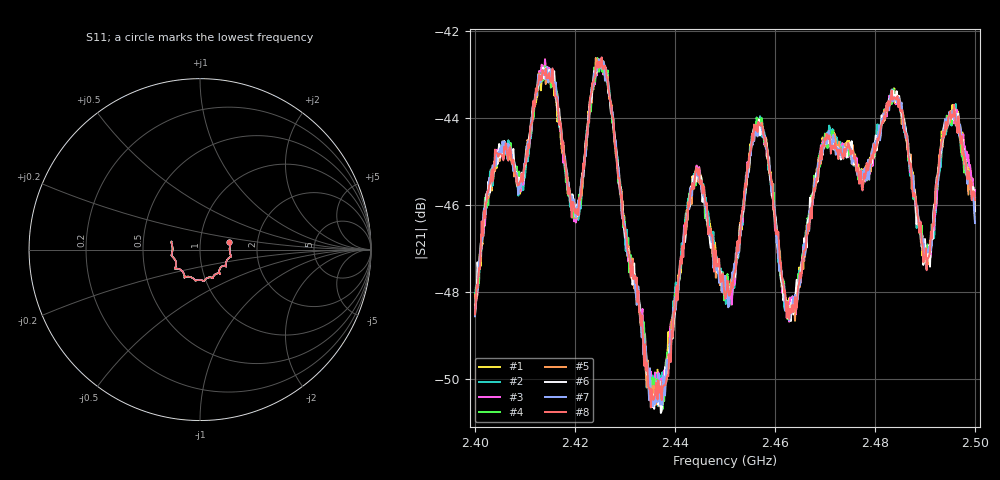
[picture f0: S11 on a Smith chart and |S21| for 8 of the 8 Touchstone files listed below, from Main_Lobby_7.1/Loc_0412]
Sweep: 2.4 GHz to 2.5 GHz
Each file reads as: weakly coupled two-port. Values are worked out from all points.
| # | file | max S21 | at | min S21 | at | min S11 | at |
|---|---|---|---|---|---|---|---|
| 1 | Lab_139_1Ch1.s2p | -42.69 dB | 2.4253 GHz | -50.5 dB | 2.4368 GHz | -16.1 dB | 2.4862 GHz |
| 2 | Lab_139_2Ch1.s2p | -42.68 dB | 2.425 GHz | -50.6 dB | 2.4367 GHz | -16.1 dB | 2.4862 GHz |
| 3 | Lab_139_4Ch1.s2p | -42.65 dB | 2.414 GHz | -50.4 dB | 2.4375 GHz | -16.1 dB | 2.4862 GHz |
| 4 | Lab_139_5Ch1.s2p | -42.63 dB | 2.4245 GHz | -50.7 dB | 2.4375 GHz | -16.1 dB | 2.4862 GHz |
| 5 | Lab_139_7Ch1.s2p | -42.62 dB | 2.4242 GHz | -50.6 dB | 2.4355 GHz | -16.1 dB | 2.486 GHz |
| 6 | Lab_139_8Ch1.s2p | -42.65 dB | 2.4252 GHz | -50.8 dB | 2.4372 GHz | -16.1 dB | 2.4862 GHz |
| 7 | Lab_139_9Ch1.s2p | -42.66 dB | 2.4248 GHz | -50.6 dB | 2.4357 GHz | -16.1 dB | 2.4862 GHz |
| 8 | Lab_139_10Ch1.s2p | -42.61 dB | 2.4253 GHz | -50.6 dB | 2.4352 GHz | -16.1 dB | 2.4862 GHz |
